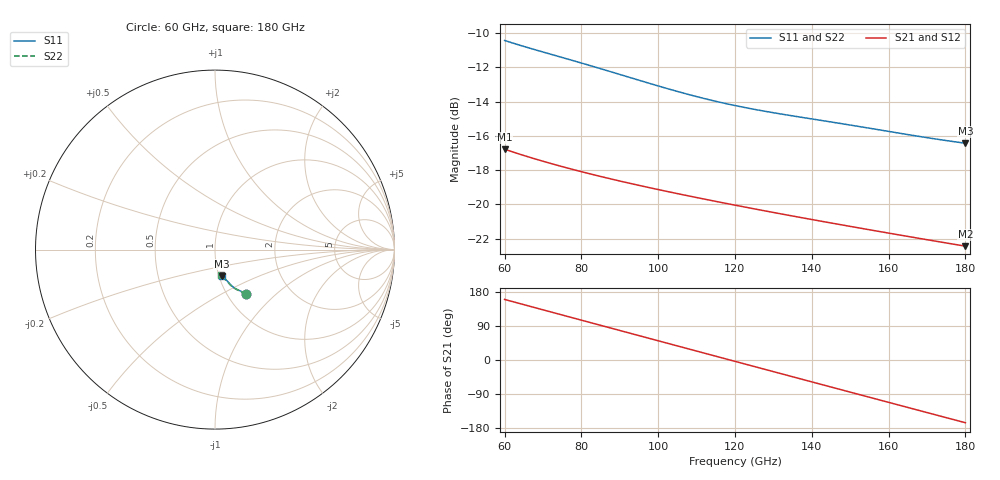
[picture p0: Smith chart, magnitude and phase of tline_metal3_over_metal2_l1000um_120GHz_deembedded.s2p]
! Created with skrf 2.2.0 (http://scikit-rf.org).
# GHz S DB R 50.0
! Port[1] = P1
! Port[2] = P2
!freq dBS11 angS11 dBS21 angS21 dBS12 angS12 dBS22 angS22
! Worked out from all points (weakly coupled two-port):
!   101 points, 60 GHz to 180 GHz, reference 50 ohm
!   highest |S21| = -16.78 dB at 60 GHz (marker M1); lowest = -22.4 dB at 180 GHz (marker M2)
!   lowest |S11| = -16.4 dB at 180 GHz (marker M3), VSWR 1.36, Z = 51.6 - j15.4 ohm
!   |S11| at or under -10 dB: start of sweep to end of sweep
!   |S22| runs from -16.6 to -10.4 dB; largest |S21 - S12| = 2e-14
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60  -10.42 -54.6  -16.78 159.8  -16.78 159.8  -10.42 -54.8
66  -10.84 -56.2  -17.21 143.3  -17.21 143.3  -10.83 -56.5
70.8  -11.15 -57.5  -17.53 130.2  -17.53 130.2  -11.14 -57.8
75.6  -11.46 -59.0  -17.83 117.1  -17.83 117.1  -11.45 -59.3
80.4  -11.77 -60.4  -18.11 104.0  -18.11 104.0  -11.77 -60.8
85.2  -12.08 -61.8  -18.38 91.0  -18.38 91.0  -12.09 -62.2
90  -12.41 -63.1  -18.63 77.9  -18.63 77.9  -12.42 -63.5
94.8  -12.73 -64.2  -18.88 64.9  -18.88 64.9  -12.75 -64.7
100.8  -13.13 -65.4  -19.17 48.6  -19.17 48.6  -13.15 -66.0
105.6  -13.44 -66.2  -19.39 35.5  -19.39 35.5  -13.47 -66.8
110.4  -13.72 -66.9  -19.61 22.5  -19.61 22.5  -13.76 -67.5
115.2  -13.99 -67.4  -19.83 9.5  -19.83 9.5  -14.03 -68.0
120  -14.22 -67.9  -20.04 -3.6  -20.04 -3.6  -14.28 -68.5
129.6  -14.63 -68.9  -20.45 -29.6  -20.45 -29.6  -14.70 -69.6
135.6  -14.85 -69.7  -20.70 -45.8  -20.70 -45.8  -14.93 -70.3
140.4  -15.02 -70.4  -20.90 -58.8  -20.90 -58.8  -15.11 -71.0
145.2  -15.19 -71.1  -21.09 -71.8  -21.09 -71.8  -15.29 -71.7
150  -15.36 -71.9  -21.28 -84.8  -21.28 -84.8  -15.47 -72.5
154.8  -15.54 -72.6  -21.47 -97.7  -21.47 -97.7  -15.66 -73.2
160.8  -15.76 -73.5  -21.70 -113.9  -21.70 -113.9  -15.89 -74.1
170.4  -16.11 -74.6  -22.07 -139.8  -22.07 -139.8  -16.26 -75.2
180  -16.42 -75.6  -22.44 -165.5  -22.44 -165.5  -16.60 -76.1
